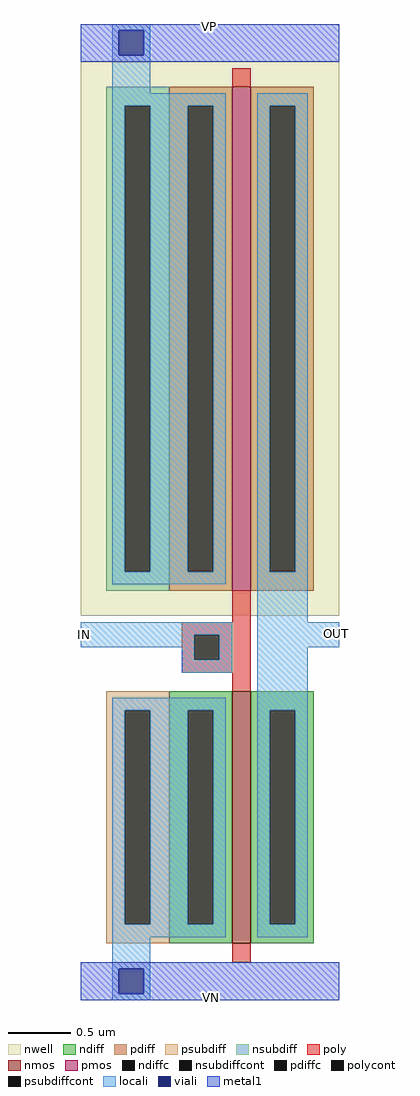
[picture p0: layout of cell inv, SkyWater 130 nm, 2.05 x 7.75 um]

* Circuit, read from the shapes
.subckt inv VP VN IN OUT
XM1 OUT IN VN VN sky130_fd_pr__nfet_01v8 w=2 l=0.15
XM2 OUT IN VP VP sky130_fd_pr__pfet_01v8 w=4 l=0.15
.ends

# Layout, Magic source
magic
tech sky130A
<< nwell >>
rect -70 280 135 720
<< nmos >>
rect 50 20 65 220
<< pmos >>
rect 50 300 65 700
<< ndiff >>
rect 0 205 50 220
rect 0 35 15 205
rect 35 35 50 205
rect 0 20 50 35
rect 65 205 115 220
rect 65 35 80 205
rect 100 35 115 205
rect 65 20 115 35
<< pdiff >>
rect 0 685 50 700
rect 0 315 15 685
rect 35 315 50 685
rect 0 300 50 315
rect 65 685 115 700
rect 65 315 80 685
rect 100 315 115 685
rect 65 300 115 315
<< ndiffc >>
rect 15 35 35 205
rect 80 35 100 205
<< pdiffc >>
rect 15 315 35 685
rect 80 315 100 685
<< psubdiff >>
rect -50 205 0 220
rect -50 35 -35 205
rect -15 35 0 205
rect -50 20 0 35
<< nsubdiff >>
rect -50 685 0 700
rect -50 315 -35 685
rect -15 315 0 685
rect -50 300 0 315
<< psubdiffcont >>
rect -35 35 -15 205
<< nsubdiffcont >>
rect -35 315 -15 685
<< poly >>
rect 50 700 65 715
rect 50 275 65 300
rect 10 265 65 275
rect 10 245 20 265
rect 40 245 65 265
rect 10 235 65 245
rect 50 220 65 235
rect 50 5 65 20
<< polycont >>
rect 20 245 40 265
<< locali >>
rect -45 745 -15 750
rect -45 725 -40 745
rect -20 725 -15 745
rect -45 695 -15 725
rect -45 685 45 695
rect -45 315 -35 685
rect -15 315 15 685
rect 35 315 45 685
rect -45 305 45 315
rect 70 685 110 695
rect 70 315 80 685
rect 100 315 110 685
rect 70 275 110 315
rect -70 265 50 275
rect -70 255 20 265
rect 10 245 20 255
rect 40 245 50 265
rect 10 235 50 245
rect 70 255 135 275
rect -45 205 45 215
rect -45 35 -35 205
rect -15 35 15 205
rect 35 35 45 205
rect -45 25 45 35
rect 70 205 110 255
rect 70 35 80 205
rect 100 35 110 205
rect 70 25 110 35
rect -45 0 -15 25
rect -45 -20 -40 0
rect -20 -20 -15 0
rect -45 -25 -15 -20
<< viali >>
rect -40 725 -20 745
rect -40 -20 -20 0
<< metal1 >>
rect -70 745 135 750
rect -70 725 -40 745
rect -20 725 135 745
rect -70 720 135 725
rect -70 0 135 5
rect -70 -20 -40 0
rect -20 -20 135 0
rect -70 -25 135 -20
<< labels >>
rlabel metal1 32 748 32 748 5 VP
port 1 s
rlabel metal1 34 -23 34 -23 1 VN
port 2 n
rlabel locali -67 265 -67 265 1 IN
port 3 n
rlabel locali 133 266 133 266 7 OUT
port 4 w
<< end >>
